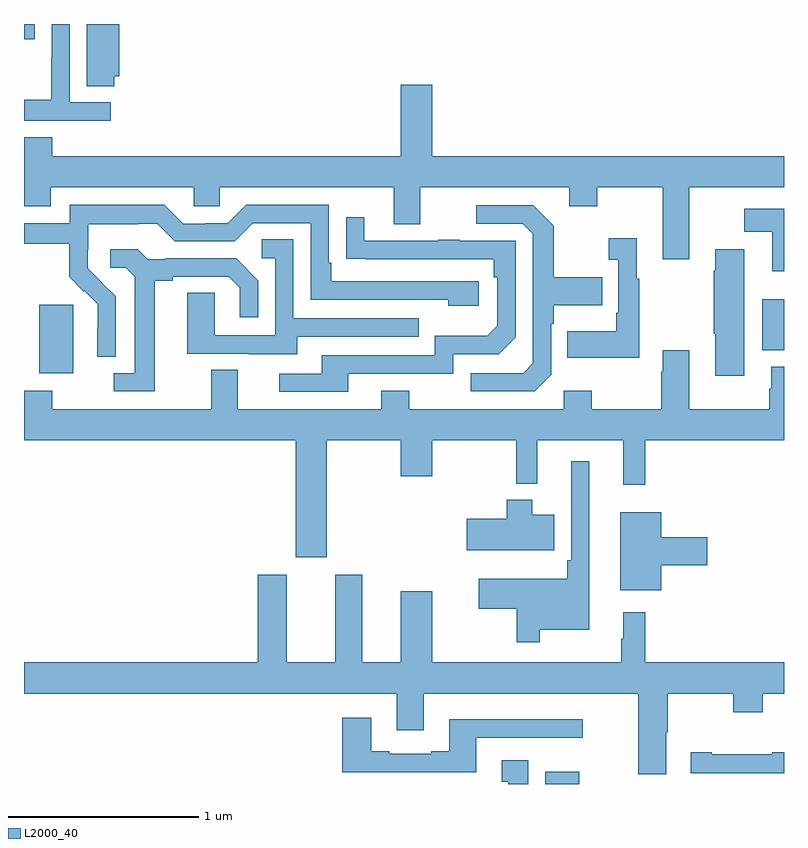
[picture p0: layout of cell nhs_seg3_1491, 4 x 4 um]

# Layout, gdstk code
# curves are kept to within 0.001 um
import gdstk
lib = gdstk.Library(unit=1e-6, precision=1e-09)
def R(c, l, rs):  # rectangles x0, y0, x1, y1
    for r in rs: c.add(gdstk.rectangle(r[:2], r[2:], *l))
def P(c, l, *ps):  # polygons
    for p in ps: c.add(gdstk.Polygon(p, *l))
L2000_40 = (2000, 40)

nhs_seg3_1491 = lib.new_cell('nhs_seg3_1491')
R(nhs_seg3_1491, L2000_40, [(189.743,740.4,189.922,740.464), (187.079,742.562,187.258,742.923), (190.886,742.682,191,742.951), (187,744.321,187.057,744.4)])
P(nhs_seg3_1491, L2000_40, [(187.456,743.988),(187.242,743.988),(187.242,744.4),(187.146,744.4),(187.146,744.224),(187.144,744.224),(187.144,744.001),(187,744.001),(187,743.892),(187.456,743.892)],
  [(187.475,744.126),(187.502,744.126),(187.502,744.4),(187.331,744.4),(187.331,744.073),(187.475,744.073)],
  [(190.501,743.54),(191,743.54),(191,743.704),(189.148,743.704),(189.148,744.079),(188.984,744.079),(188.984,743.704),(187.148,743.704),(187.148,743.803),(187,743.803),(187,743.441),(187.141,743.441),(187.141,743.54),(187.893,743.54),(187.893,743.442),(188.031,743.442),(188.031,743.54),(188.945,743.54),(188.945,743.346),(189.085,743.346),(189.085,743.54),(189.869,743.54),(189.869,743.441),(190.017,743.441),(190.017,743.54),(190.361,743.54),(190.361,743.163),(190.501,743.163)],
  [(187.482,742.966),(187.336,743.114),(187.336,743.211),(187.338,743.211),(187.338,743.345),(187.601,743.345),(187.601,743.349),(187.701,743.349),(187.794,743.256),(188.109,743.256),(188.205,743.352),(188.508,743.352),(188.508,742.95),(189.233,742.95),(189.233,742.916),(189.394,742.916),(189.394,743.046),(188.617,743.046),(188.617,743.143),(188.604,743.143),(188.604,743.448),(188.169,743.448),(188.073,743.352),(187.955,743.352),(187.955,743.349),(187.839,743.349),(187.739,743.449),(187.242,743.449),(187.242,743.352),(187,743.352),(187,743.244),(187.237,743.244),(187.237,743.069),(187.314,742.992),(187.317,742.995),(187.388,742.925),(187.388,742.802),(187.386,742.802),(187.386,742.648),(187.482,742.648)],
  [(189.774,742.554),(189.774,742.823),(189.787,742.823),(189.787,742.919),(190.043,742.919),(190.043,743.067),(189.787,743.067),(189.787,743.339),(189.681,743.445),(189.381,743.445),(189.381,743.349),(189.624,743.349),(189.678,743.295),(189.678,742.614),(189.627,742.563),(189.351,742.563),(189.351,742.467),(189.687,742.467)],
  [(191,743.428),(190.791,743.428),(190.791,743.306),(190.937,743.306),(190.937,743.099),(191,743.099)],
  [(188.707,742.56),(189.258,742.56),(189.258,742.662),(189.498,742.662),(189.588,742.752),(189.588,743.259),(189.293,743.259),(189.293,743.264),(189.181,743.264),(189.181,743.259),(188.791,743.259),(188.791,743.383),(188.695,743.383),(188.695,743.164),(189.472,743.163),(189.472,743.066),(189.492,743.066),(189.492,742.812),(189.439,742.759),(189.162,742.759),(189.162,742.656),(188.567,742.656),(188.567,742.56),(188.343,742.56),(188.343,742.464),(188.707,742.464)],
  [(190.237,743.059),(190.225,743.059),(190.225,743.272),(190.077,743.272),(190.077,743.159),(190.128,743.159),(190.128,742.879),(190.116,742.879),(190.116,742.783),(189.859,742.783),(189.859,742.643),(190.237,742.643)],
  [(188.437,742.755),(189.077,742.755),(189.077,742.851),(188.418,742.851),(188.418,743.267),(188.25,743.267),(188.25,743.166),(188.322,743.166),(188.322,742.761),(188.004,742.761),(188.004,742.985),(187.859,742.985),(187.859,742.665),(188.183,742.665),(188.183,742.661),(188.437,742.661)],
  [(190.792,743.215),(190.637,743.215),(190.637,743.102),(190.63,743.102),(190.63,742.771),(190.637,742.771),(190.637,742.548),(190.792,742.548)],
  [(187.687,743.048),(187.783,743.048),(187.783,743.07),(188.078,743.07),(188.135,743.013),(188.135,742.857),(188.232,742.857),(188.232,743.05),(188.116,743.166),(187.744,743.166),(187.744,743.163),(187.65,743.163),(187.598,743.215),(187.455,743.215),(187.455,743.118),(187.536,743.118),(187.583,743.071),(187.583,742.563),(187.473,742.563),(187.473,742.467),(187.687,742.467)],
  [(188.593,742.208),(188.984,742.208),(188.984,742.02),(189.148,742.02),(189.148,742.208),(189.591,742.208),(189.591,741.98),(189.701,741.98),(189.701,742.208),(190.154,742.208),(190.154,741.975),(190.271,741.975),(190.271,742.208),(191,742.208),(191,742.597),(190.934,742.597),(190.934,742.479),(190.923,742.479),(190.923,742.372),(190.501,742.372),(190.501,742.684),(190.361,742.684),(190.361,742.571),(190.354,742.571),(190.354,742.372),(189.987,742.372),(189.987,742.471),(189.84,742.471),(189.84,742.372),(189.027,742.372),(189.027,742.471),(188.879,742.471),(188.879,742.372),(188.125,742.372),(188.125,742.58),(187.985,742.58),(187.985,742.372),(187.149,742.372),(187.149,742.471),(187,742.471),(187,742.208),(188.429,742.208),(188.429,741.594),(188.593,741.594)],
  [(189.715,741.212),(189.976,741.212),(189.976,742.099),(189.879,742.099),(189.879,741.577),(189.859,741.577),(189.859,741.481),(189.393,741.481),(189.393,741.323),(189.594,741.323),(189.594,741.147),(189.715,741.147)],
  [(189.79,741.817),(189.676,741.817),(189.676,741.895),(189.542,741.895),(189.542,741.795),(189.33,741.795),(189.33,741.629),(189.79,741.629)],
  [(190.354,741.551),(190.597,741.551),(190.597,741.698),(190.354,741.698),(190.354,741.829),(190.139,741.829),(190.139,741.419),(190.354,741.419)],
  [(190.381,740.672),(190.389,740.672),(190.389,740.876),(190.732,740.876),(190.732,740.777),(190.887,740.777),(190.887,740.876),(191,740.876),(191,741.04),(190.271,741.04),(190.271,741.304),(190.154,741.304),(190.154,741.164),(190.143,741.164),(190.143,741.04),(189.148,741.04),(189.148,741.415),(188.984,741.415),(188.984,741.04),(188.779,741.04),(188.779,741.502),(188.639,741.502),(188.639,741.04),(188.383,741.04),(188.383,741.502),(188.231,741.502),(188.231,741.04),(187,741.04),(187,740.876),(188.963,740.876),(188.963,740.682),(189.103,740.682),(189.103,740.876),(190.234,740.876),(190.234,740.451),(190.381,740.451)],
  [(189.379,740.643),(189.94,740.643),(189.94,740.74),(189.239,740.74),(189.239,740.572),(189.143,740.572),(189.143,740.559),(188.923,740.559),(188.923,740.572),(188.827,740.572),(188.827,740.749),(188.675,740.749),(188.675,740.462),(189.379,740.462)],
  [(190.784,740.457),(191,740.457),(191,740.566),(190.937,740.566),(190.937,740.556),(190.621,740.556),(190.621,740.566),(190.509,740.566),(190.509,740.456),(190.784,740.456)],
  [(189.655,740.524),(189.515,740.524),(189.515,740.411),(189.548,740.411),(189.548,740.4),(189.655,740.4)])

lib.write_gds('nhs_seg3_1491.gds')
